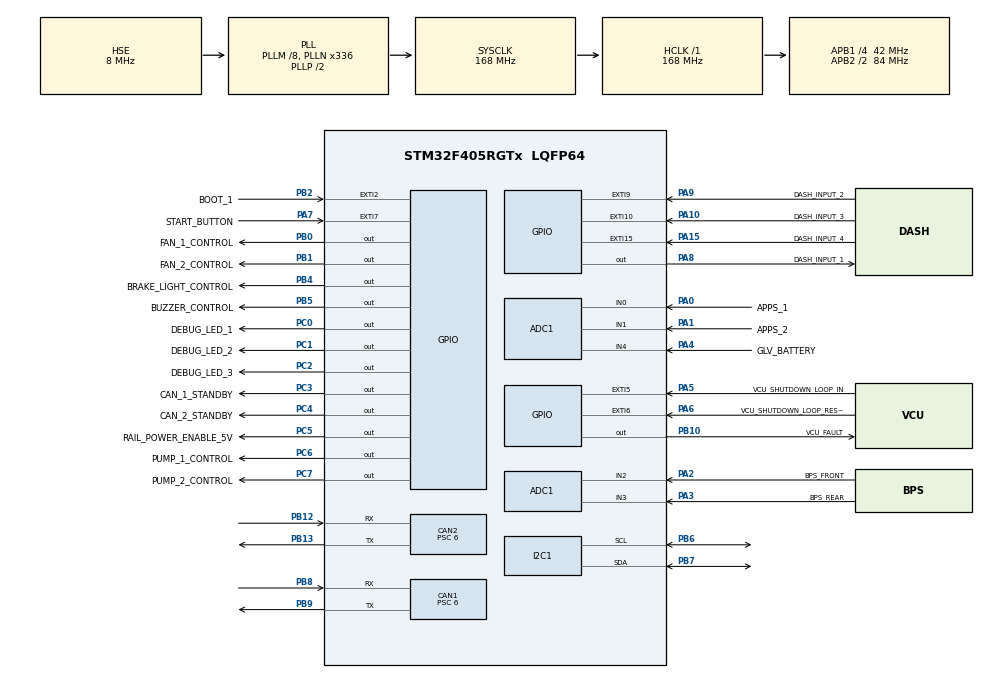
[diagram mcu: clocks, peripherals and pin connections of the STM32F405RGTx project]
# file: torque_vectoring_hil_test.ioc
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ADC1.Channel-0\#ChannelRegularConversion=ADC_CHANNEL_0
ADC1.NbrOfConversionFlag=1
ADC1.Rank-0\#ChannelRegularConversion=1
ADC1.SamplingTime-0\#ChannelRegularConversion=ADC_SAMPLETIME_3CYCLES
ADC1.master=1
CAN1.BS1=CAN_BS1_3TQ
CAN1.BS2=CAN_BS2_3TQ
CAN1.CalculateBaudRate=1000000
CAN1.CalculateTimeBit=1000
CAN1.CalculateTimeQuantum=142.85714285714286
CAN1.Prescaler=6
CAN1.TXFP=ENABLE
CAN2.BS1=CAN_BS1_3TQ
CAN2.BS2=CAN_BS2_3TQ
CAN2.CalculateBaudRate=1000000
CAN2.CalculateTimeBit=1000
CAN2.CalculateTimeQuantum=142.85714285714286
CAN2.Prescaler=6
Mcu.Family=STM32F4
Mcu.Name=STM32F405RGTx
Mcu.Package=LQFP64
NVIC.CAN1_RX0_IRQn=true\:0\:0\:false\:false\:true\:true\:true\:true
NVIC.CAN2_RX0_IRQn=true\:0\:0\:false\:false\:true\:true\:true\:true
NVIC.EXTI15_10_IRQn=true\:0\:0\:false\:false\:true\:true\:true\:true
NVIC.EXTI9_5_IRQn=true\:0\:0\:false\:false\:true\:true\:true\:true
NVIC.PriorityGroup=NVIC_PRIORITYGROUP_4
NVIC.TIM1_TRG_COM_TIM11_IRQn=true\:0\:0\:false\:false\:true\:true\:true\:true
NVIC.TIM1_UP_TIM10_IRQn=true\:15\:0\:false\:false\:true\:false\:true\:true
NVIC.TimeBase=TIM1_UP_TIM10_IRQn
NVIC.TimeBaseIP=TIM1
PA0-WKUP.GPIO_Label=APPS_1
PA0-WKUP.Signal=ADCx_IN0
PA1.GPIO_Label=APPS_2
PA1.Signal=ADCx_IN1
PA10.GPIO_Label=DASH_INPUT_3
PA10.GPIO_ModeDefaultEXTI=GPIO_MODE_IT_RISING_FALLING
PA10.GPIO_PuPd=GPIO_NOPULL
PA10.Signal=GPXTI10
PA13.Mode=Trace_Asynchronous_SW
PA13.Signal=SYS_JTMS-SWDIO
PA14.Mode=Trace_Asynchronous_SW
PA14.Signal=SYS_JTCK-SWCLK
PA15.GPIO_Label=DASH_INPUT_4
PA15.GPIO_ModeDefaultEXTI=GPIO_MODE_IT_RISING_FALLING
PA15.GPIO_PuPd=GPIO_NOPULL
PA15.Signal=GPXTI15
PA2.GPIO_Label=BPS_FRONT
PA2.Signal=ADCx_IN2
PA3.GPIO_Label=BPS_REAR
PA3.Signal=ADCx_IN3
PA4.GPIO_Label=GLV_BATTERY
PA4.Signal=ADCx_IN4
PA5.GPIO_Label=VCU_SHUTDOWN_LOOP_IN
PA5.GPIO_ModeDefaultEXTI=GPIO_MODE_IT_RISING_FALLING
PA5.GPIO_PuPd=GPIO_NOPULL
PA5.Signal=GPXTI5
PA6.GPIO_Label=VCU_SHUTDOWN_LOOP_RESET
PA6.GPIO_ModeDefaultEXTI=GPIO_MODE_IT_RISING_FALLING
PA6.GPIO_PuPd=GPIO_NOPULL
PA6.Signal=GPXTI6
PA7.GPIO_Label=START_BUTTON
PA7.GPIO_ModeDefaultEXTI=GPIO_MODE_IT_RISING_FALLING
PA7.GPIO_PuPd=GPIO_NOPULL
PA7.Signal=GPXTI7
PA8.GPIO_Label=DASH_INPUT_1
PA8.Signal=GPIO_Output
PA9.GPIO_Label=DASH_INPUT_2
PA9.GPIO_ModeDefaultEXTI=GPIO_MODE_IT_RISING_FALLING
PA9.Signal=GPXTI9
PB0.GPIO_Label=FAN_1_CONTROL
PB0.Signal=GPIO_Output
PB1.GPIO_Label=FAN_2_CONTROL
PB1.Signal=GPIO_Output
PB10.GPIO_Label=VCU_FAULT
PB10.Signal=GPIO_Output
PB12.Mode=CAN_Activate
PB12.Signal=CAN2_RX
PB13.Mode=CAN_Activate
PB13.Signal=CAN2_TX
PB2.GPIO_Label=BOOT_1
PB2.GPIO_ModeDefaultEXTI=GPIO_MODE_IT_RISING_FALLING
PB2.Signal=GPXTI2
PB3.Mode=Trace_Asynchronous_SW
PB3.Signal=SYS_JTDO-SWO
PB4.GPIO_Label=BRAKE_LIGHT_CONTROL
PB4.Signal=GPIO_Output
PB5.GPIO_Label=BUZZER_CONTROL
PB5.Signal=GPIO_Output
PB6.Mode=I2C
PB6.Signal=I2C1_SCL
PB7.Mode=I2C
PB7.Signal=I2C1_SDA
PB8.Mode=CAN_Activate
PB8.Signal=CAN1_RX
PB9.Mode=CAN_Activate
PB9.Signal=CAN1_TX
PC0.GPIO_Label=DEBUG_LED_1
PC0.Signal=GPIO_Output
PC1.GPIO_Label=DEBUG_LED_2
PC1.Signal=GPIO_Output
PC2.GPIO_Label=DEBUG_LED_3
PC2.Signal=GPIO_Output
PC3.GPIO_Label=CAN_1_STANDBY
PC3.Signal=GPIO_Output
PC4.GPIO_Label=CAN_2_STANDBY
PC4.Signal=GPIO_Output
PC5.GPIO_Label=RAIL_POWER_ENABLE_5V
PC5.Signal=GPIO_Output
PC6.GPIO_Label=PUMP_1_CONTROL
PC6.Signal=GPIO_Output
PC7.GPIO_Label=PUMP_2_CONTROL
PC7.Signal=GPIO_Output
PH0-OSC_IN.Mode=HSE-External-Oscillator
PH0-OSC_IN.Signal=RCC_OSC_IN
PH1-OSC_OUT.Mode=HSE-External-Oscillator
PH1-OSC_OUT.Signal=RCC_OSC_OUT
ProjectManager.HeapSize=0x800
ProjectManager.StackSize=0x400
ProjectManager.TargetToolchain=STM32CubeIDE
RCC.48MHZClocksFreq_Value=48000000
RCC.AHBFreq_Value=168000000
RCC.APB1CLKDivider=RCC_HCLK_DIV4
RCC.APB1Freq_Value=42000000
RCC.APB1TimFreq_Value=84000000
RCC.APB2CLKDivider=RCC_HCLK_DIV2
RCC.APB2Freq_Value=84000000
RCC.APB2TimFreq_Value=168000000
RCC.CortexFreq_Value=168000000
RCC.HCLKFreq_Value=168000000
RCC.HSE_VALUE=8000000
RCC.HSI_VALUE=16000000
RCC.LSE_VALUE=32768
RCC.PLLM=8
RCC.PLLN=336
RCC.PLLQ=7
RCC.PLLSourceVirtual=RCC_PLLSOURCE_HSE
RCC.SYSCLKFreq_VALUE=168000000
RCC.SYSCLKSource=RCC_SYSCLKSOURCE_PLLCLK
RCC.VCOOutputFreq_Value=336000000
SH.ADCx_IN0.0=ADC1_IN0,IN0
SH.ADCx_IN1.0=ADC1_IN1,IN1
SH.ADCx_IN2.0=ADC1_IN2,IN2
SH.ADCx_IN3.0=ADC1_IN3,IN3
SH.ADCx_IN4.0=ADC1_IN4,IN4
TIM11.Period=4199
VP_SYS_VS_tim1.Mode=TIM1
VP_TIM11_VS_ClockSourceINT.Mode=Enable_Timer
board=custom

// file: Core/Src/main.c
/* USER CODE BEGIN Header */
/*
 * Torque Vectoring HIL Test firmware
 *
 * This project recieves CAN messages from the Simulink HIL simulation, and
 * runs the torque vectoring algorithm to validate its embedded implementation.
 * The STM32 expects a message with driver and vehicle state data, then computes
 * the Mz_tv and torque outputs, sending them back over CAN, where Simulink
 * updates the plant model simulation.
 */
/* USER CODE END Header */
#include "main.h"

/* USER CODE BEGIN Includes */
#include "pid.h"

/* USER CODE END Includes */

/* USER CODE BEGIN PD */
#define CAN_DATA_SCALING_FACTOR 1000

/* USER CODE END PD */

ADC_HandleTypeDef hadc1;

CAN_HandleTypeDef hcan1;
CAN_HandleTypeDef hcan2;

I2C_HandleTypeDef hi2c1;

TIM_HandleTypeDef htim11;

/* USER CODE BEGIN PV */

// CAN Data and message identifiers
CAN_RxHeaderTypeDef rxHeader;
uint8_t rxData[8];  // CAN max payload is 8 bytes
uint8_t received_message_yaw = 0;
uint8_t received_message_vehicle_state = 0;

// Vehicle Data
float ref_velocity = 0.0f;
float sw_angle = 0.0f;

// Yaw Controller Data
float input_data = 0.0f;
float output_data = 0.0f;
float time_step = 0.0f;

// PID Data
pid_t pid_data;
float sampling_period = 0.01f;
float tau = 0.0f;
gain_t sample_gains = {7000.0, 2000.0, 0.0};  // Sample gains for the HIL test model

/* USER CODE END PV */

void SystemClock_Config(void);
static void MX_GPIO_Init(void);
static void MX_CAN1_Init(void);
static void MX_CAN2_Init(void);
static void MX_I2C1_Init(void);
static void MX_ADC1_Init(void);
static void MX_TIM11_Init(void);
/* USER CODE BEGIN PFP */

void init_can_filter(CAN_FilterTypeDef canfilter);
void process_can_message(void);
void send_can_message(int16_t actuating_signal);

/* USER CODE END PFP */

int main(void)
{

  /* MCU Configuration--------------------------------------------------------*/

  /* Reset of all peripherals, Initializes the Flash interface and the Systick. */
  HAL_Init();

  /* Configure the system clock */
  SystemClock_Config();

  /* Initialize all configured peripherals */
  MX_GPIO_Init();
  MX_CAN1_Init();
  MX_CAN2_Init();
  MX_I2C1_Init();
  MX_ADC1_Init();
  MX_TIM11_Init();
  /* USER CODE BEGIN 2 */
  uint32_t last_toggle = HAL_GetTick();

  // Enable the 5V Power rail
  HAL_GPIO_WritePin(GPIOC, RAIL_POWER_ENABLE_5V_Pin, GPIO_PIN_SET);

  // Pull The standby pin low to put the CAN tranceivers in normal mode
  HAL_GPIO_WritePin(GPIOC, CAN_1_STANDBY_Pin, GPIO_PIN_RESET);

  HAL_CAN_Start(&hcan1);

  // Set CAN Bus filter to find ID = 0x120 to 0x125 messages
  CAN_FilterTypeDef canfilter;
  (void)init_can_filter(canfilter);

  if (HAL_CAN_ConfigFilter(&hcan1, &canfilter) != HAL_OK) {
      Error_Handler();  // Or debug print
  }

  // Initialize PID controller and set gains
  (void)init_pid(&pid_data, sampling_period, tau);
  (void)update_gains(&pid_data, sample_gains);

  /* USER CODE END 2 */

  /* Infinite loop */
  while (1)
  {

	// Heatnbeat to ensure it is running
	if (HAL_GetTick() - last_toggle >= 500) {
		HAL_GPIO_TogglePin(GPIOC, DEBUG_LED_1_Pin);
	    last_toggle = HAL_GetTick();
	}

	// 1. Wait to recieve a CAN message. This is non-blocking so we only want to compute the PID if we receive a message
    (void)process_can_message();

    // Schedule Gains
    if(received_message_vehicle_state) {
      // Interpolate the lookup table to find the closes gain values
      gain_t new_gains = schedule_gains(ref_velocity, sw_angle);
      update_gains(&pid_data, new_gains);
      received_message_vehicle_state = 0;
    }

    // Compute PID controller
    if(received_message_yaw) {
    	// Note: this only works because this is not computed real-time. Simulation data between messages is sent every simulation 0.01s time step, which is what the sample_time is set to.

      // Calculate error signal
    	float error = input_data - output_data;
    	update_pid(&pid_data, error);

    	// Send a CAN message out
    	float actuating_signal = pid_data.u;
    	(void)send_can_message((int16_t)(actuating_signal));

    	received_message_yaw = 0;
    }

  }
}

void SystemClock_Config(void)
{
  RCC_OscInitTypeDef RCC_OscInitStruct = {0};
  RCC_ClkInitTypeDef RCC_ClkInitStruct = {0};

  /** Configure the main internal regulator output voltage
  */
  __HAL_RCC_PWR_CLK_ENABLE();
  __HAL_PWR_VOLTAGESCALING_CONFIG(PWR_REGULATOR_VOLTAGE_SCALE1);

  /** Initializes the RCC Oscillators according to the specified parameters
  * in the RCC_OscInitTypeDef structure.
  */
  RCC_OscInitStruct.OscillatorType = RCC_OSCILLATORTYPE_HSE;
  RCC_OscInitStruct.HSEState = RCC_HSE_ON;
  RCC_OscInitStruct.PLL.PLLState = RCC_PLL_ON;
  RCC_OscInitStruct.PLL.PLLSource = RCC_PLLSOURCE_HSE;
  RCC_OscInitStruct.PLL.PLLM = 8;
  RCC_OscInitStruct.PLL.PLLN = 336;
  RCC_OscInitStruct.PLL.PLLP = RCC_PLLP_DIV2;
  RCC_OscInitStruct.PLL.PLLQ = 7;
  if (HAL_RCC_OscConfig(&RCC_OscInitStruct) != HAL_OK)
  {
    Error_Handler();
  }

  /** Initializes the CPU, AHB and APB buses clocks
  */
  RCC_ClkInitStruct.ClockType = RCC_CLOCKTYPE_HCLK|RCC_CLOCKTYPE_SYSCLK
                              |RCC_CLOCKTYPE_PCLK1|RCC_CLOCKTYPE_PCLK2;
  RCC_ClkInitStruct.SYSCLKSource = RCC_SYSCLKSOURCE_PLLCLK;
  RCC_ClkInitStruct.AHBCLKDivider = RCC_SYSCLK_DIV1;
  RCC_ClkInitStruct.APB1CLKDivider = RCC_HCLK_DIV4;
  RCC_ClkInitStruct.APB2CLKDivider = RCC_HCLK_DIV2;

  if (HAL_RCC_ClockConfig(&RCC_ClkInitStruct, FLASH_LATENCY_5) != HAL_OK)
  {
    Error_Handler();
  }
}

static void MX_ADC1_Init(void)
{

  ADC_ChannelConfTypeDef sConfig = {0};

  /** Configure the global features of the ADC (Clock, Resolution, Data Alignment and number of conversion)
  */
  hadc1.Instance = ADC1;
  hadc1.Init.ClockPrescaler = ADC_CLOCK_SYNC_PCLK_DIV4;
  hadc1.Init.Resolution = ADC_RESOLUTION_12B;
  hadc1.Init.ScanConvMode = DISABLE;
  hadc1.Init.ContinuousConvMode = DISABLE;
  hadc1.Init.DiscontinuousConvMode = DISABLE;
  hadc1.Init.ExternalTrigConvEdge = ADC_EXTERNALTRIGCONVEDGE_NONE;
  hadc1.Init.ExternalTrigConv = ADC_SOFTWARE_START;
  hadc1.Init.DataAlign = ADC_DATAALIGN_RIGHT;
  hadc1.Init.NbrOfConversion = 1;
  hadc1.Init.DMAContinuousRequests = DISABLE;
  hadc1.Init.EOCSelection = ADC_EOC_SINGLE_CONV;
  if (HAL_ADC_Init(&hadc1) != HAL_OK)
  {
    Error_Handler();
  }

  /** Configure for the selected ADC regular channel its corresponding rank in the sequencer and its sample time.
  */
  sConfig.Channel = ADC_CHANNEL_0;
  sConfig.Rank = 1;
  sConfig.SamplingTime = ADC_SAMPLETIME_3CYCLES;
  if (HAL_ADC_ConfigChannel(&hadc1, &sConfig) != HAL_OK)
  {
    Error_Handler();
  }

}

static void MX_CAN1_Init(void)
{

  hcan1.Instance = CAN1;
  hcan1.Init.Prescaler = 6;
  hcan1.Init.Mode = CAN_MODE_NORMAL;
  hcan1.Init.SyncJumpWidth = CAN_SJW_1TQ;
  hcan1.Init.TimeSeg1 = CAN_BS1_3TQ;
  hcan1.Init.TimeSeg2 = CAN_BS2_3TQ;
  hcan1.Init.TimeTriggeredMode = DISABLE;
  hcan1.Init.AutoBusOff = DISABLE;
  hcan1.Init.AutoWakeUp = DISABLE;
  hcan1.Init.AutoRetransmission = DISABLE;
  hcan1.Init.ReceiveFifoLocked = DISABLE;
  hcan1.Init.TransmitFifoPriority = ENABLE;
  if (HAL_CAN_Init(&hcan1) != HAL_OK)
  {
    Error_Handler();
  }

}

static void MX_CAN2_Init(void)
{

  hcan2.Instance = CAN2;
  hcan2.Init.Prescaler = 6;
  hcan2.Init.Mode = CAN_MODE_NORMAL;
  hcan2.Init.SyncJumpWidth = CAN_SJW_1TQ;
  hcan2.Init.TimeSeg1 = CAN_BS1_3TQ;
  hcan2.Init.TimeSeg2 = CAN_BS2_3TQ;
  hcan2.Init.TimeTriggeredMode = DISABLE;
  hcan2.Init.AutoBusOff = DISABLE;
  hcan2.Init.AutoWakeUp = DISABLE;
  hcan2.Init.AutoRetransmission = DISABLE;
  hcan2.Init.ReceiveFifoLocked = DISABLE;
  hcan2.Init.TransmitFifoPriority = DISABLE;
  if (HAL_CAN_Init(&hcan2) != HAL_OK)
  {
    Error_Handler();
  }

}

static void MX_I2C1_Init(void)
{

  hi2c1.Instance = I2C1;
  hi2c1.Init.ClockSpeed = 100000;
  hi2c1.Init.DutyCycle = I2C_DUTYCYCLE_2;
  hi2c1.Init.OwnAddress1 = 0;
  hi2c1.Init.AddressingMode = I2C_ADDRESSINGMODE_7BIT;
  hi2c1.Init.DualAddressMode = I2C_DUALADDRESS_DISABLE;
  hi2c1.Init.OwnAddress2 = 0;
  hi2c1.Init.GeneralCallMode = I2C_GENERALCALL_DISABLE;
  hi2c1.Init.NoStretchMode = I2C_NOSTRETCH_DISABLE;
  if (HAL_I2C_Init(&hi2c1) != HAL_OK)
  {
    Error_Handler();
  }

}

static void MX_TIM11_Init(void)
{

  htim11.Instance = TIM11;
  htim11.Init.Prescaler = 0;
  htim11.Init.CounterMode = TIM_COUNTERMODE_UP;
  htim11.Init.Period = 4199;
  htim11.Init.ClockDivision = TIM_CLOCKDIVISION_DIV1;
  htim11.Init.AutoReloadPreload = TIM_AUTORELOAD_PRELOAD_DISABLE;
  if (HAL_TIM_Base_Init(&htim11) != HAL_OK)
  {
    Error_Handler();
  }

}

static void MX_GPIO_Init(void)
{
  GPIO_InitTypeDef GPIO_InitStruct = {0};

  /* GPIO Ports Clock Enable */
  __HAL_RCC_GPIOH_CLK_ENABLE();
  __HAL_RCC_GPIOC_CLK_ENABLE();
  __HAL_RCC_GPIOA_CLK_ENABLE();
  __HAL_RCC_GPIOB_CLK_ENABLE();

  /*Configure GPIO pin Output Level */
  HAL_GPIO_WritePin(GPIOC, DEBUG_LED_1_Pin|DEBUG_LED_2_Pin|DEBUG_LED_3_Pin|CAN_1_STANDBY_Pin
                          |CAN_2_STANDBY_Pin|RAIL_POWER_ENABLE_5V_Pin|PUMP_1_CONTROL_Pin|PUMP_2_CONTROL_Pin, GPIO_PIN_RESET);

  /*Configure GPIO pin Output Level */
  HAL_GPIO_WritePin(GPIOB, FAN_1_CONTROL_Pin|FAN_2_CONTROL_Pin|VCU_FAULT_Pin|BRAKE_LIGHT_CONTROL_Pin
                          |BUZZER_CONTROL_Pin, GPIO_PIN_RESET);

  /*Configure GPIO pin Output Level */
  HAL_GPIO_WritePin(DASH_INPUT_1_GPIO_Port, DASH_INPUT_1_Pin, GPIO_PIN_RESET);

  /*Configure GPIO pins : DEBUG_LED_1_Pin DEBUG_LED_2_Pin DEBUG_LED_3_Pin CAN_1_STANDBY_Pin
                           CAN_2_STANDBY_Pin RAIL_POWER_ENABLE_5V_Pin PUMP_1_CONTROL_Pin PUMP_2_CONTROL_Pin */
  GPIO_InitStruct.Pin = DEBUG_LED_1_Pin|DEBUG_LED_2_Pin|DEBUG_LED_3_Pin|CAN_1_STANDBY_Pin
                          |CAN_2_STANDBY_Pin|RAIL_POWER_ENABLE_5V_Pin|PUMP_1_CONTROL_Pin|PUMP_2_CONTROL_Pin;
  GPIO_InitStruct.Mode = GPIO_MODE_OUTPUT_PP;
  GPIO_InitStruct.Pull = GPIO_NOPULL;
  GPIO_InitStruct.Speed = GPIO_SPEED_FREQ_LOW;
  HAL_GPIO_Init(GPIOC, &GPIO_InitStruct);

  /*Configure GPIO pins : VCU_SHUTDOWN_LOOP_IN_Pin VCU_SHUTDOWN_LOOP_RESET_Pin START_BUTTON_Pin DASH_INPUT_2_Pin
                           DASH_INPUT_3_Pin DASH_INPUT_4_Pin */
  GPIO_InitStruct.Pin = VCU_SHUTDOWN_LOOP_IN_Pin|VCU_SHUTDOWN_LOOP_RESET_Pin|START_BUTTON_Pin|DASH_INPUT_2_Pin
                          |DASH_INPUT_3_Pin|DASH_INPUT_4_Pin;
  GPIO_InitStruct.Mode = GPIO_MODE_IT_RISING_FALLING;
  GPIO_InitStruct.Pull = GPIO_NOPULL;
  HAL_GPIO_Init(GPIOA, &GPIO_InitStruct);

  /*Configure GPIO pins : FAN_1_CONTROL_Pin FAN_2_CONTROL_Pin VCU_FAULT_Pin BRAKE_LIGHT_CONTROL_Pin
                           BUZZER_CONTROL_Pin */
  GPIO_InitStruct.Pin = FAN_1_CONTROL_Pin|FAN_2_CONTROL_Pin|VCU_FAULT_Pin|BRAKE_LIGHT_CONTROL_Pin
                          |BUZZER_CONTROL_Pin;
  GPIO_InitStruct.Mode = GPIO_MODE_OUTPUT_PP;
  GPIO_InitStruct.Pull = GPIO_NOPULL;
  GPIO_InitStruct.Speed = GPIO_SPEED_FREQ_LOW;
  HAL_GPIO_Init(GPIOB, &GPIO_InitStruct);

  /*Configure GPIO pin : BOOT_1_Pin */
  GPIO_InitStruct.Pin = BOOT_1_Pin;
  GPIO_InitStruct.Mode = GPIO_MODE_IT_RISING_FALLING;
  GPIO_InitStruct.Pull = GPIO_NOPULL;
  HAL_GPIO_Init(BOOT_1_GPIO_Port, &GPIO_InitStruct);

  /*Configure GPIO pin : DASH_INPUT_1_Pin */
  GPIO_InitStruct.Pin = DASH_INPUT_1_Pin;
  GPIO_InitStruct.Mode = GPIO_MODE_OUTPUT_PP;
  GPIO_InitStruct.Pull = GPIO_NOPULL;
  GPIO_InitStruct.Speed = GPIO_SPEED_FREQ_LOW;
  HAL_GPIO_Init(DASH_INPUT_1_GPIO_Port, &GPIO_InitStruct);

  /* EXTI interrupt init*/
  HAL_NVIC_SetPriority(EXTI9_5_IRQn, 0, 0);
  HAL_NVIC_EnableIRQ(EXTI9_5_IRQn);

  HAL_NVIC_SetPriority(EXTI15_10_IRQn, 0, 0);
  HAL_NVIC_EnableIRQ(EXTI15_10_IRQn);

}

/* USER CODE BEGIN 4 */

void init_can_filter(CAN_FilterTypeDef canfilter) {
  canfilter.FilterActivation = ENABLE;
  canfilter.FilterBank = 0;                         // Use filter bank 0
  canfilter.FilterFIFOAssignment = CAN_RX_FIFO0;
  canfilter.FilterMode = CAN_FILTERMODE_IDMASK;
  canfilter.FilterScale = CAN_FILTERSCALE_32BIT;

  // Accept IDs from 0x120 to 0x125
  // Mask: match bits that define 0x120 to 0x125
  // ID bits 10:3 must match 0x24 (0b100100) -> bits 10:3 of 0x120 to 0x125 are the same
  // Bits 2:0 can vary, so mask those out

  canfilter.FilterIdHigh     = 0x120 << 5;          // Shifted left 5 to align with CAN ID format
  canfilter.FilterIdLow      = 0x0000;

  canfilter.FilterMaskIdHigh = 0x1F8 << 5;          // Mask bits 10:3 (0x1F8 = 0b1111111000)
  canfilter.FilterMaskIdLow  = 0x0000;

  canfilter.SlaveStartFilterBank = 14;              // Only needed if using CAN2
}

void process_can_message() {
  CAN_RxHeaderTypeDef rxHeader;
  uint8_t rxData[8];

  if (HAL_CAN_GetRxFifoFillLevel(&hcan1, CAN_RX_FIFO0) > 0) {
      if (HAL_CAN_GetRxMessage(&hcan1, CAN_RX_FIFO0, &rxHeader, rxData) == HAL_OK) {

    	  // Yaw Controller Data Message
          if (rxHeader.StdId == 0x123 && rxHeader.DLC >= 6) {

        	  // Toggle pin if the right message was recieved
        	  HAL_GPIO_TogglePin(GPIOC, DEBUG_LED_2_Pin);

        	  // Tell everyone we recieved the message
        	  received_message_yaw = 1;

            // MSB first
        	  input_data  = (int16_t)((rxData[0] << 8) | rxData[1]) / CAN_DATA_SCALING_FACTOR;
        	  output_data = (int16_t)((rxData[2] << 8) | rxData[3]) / CAN_DATA_SCALING_FACTOR;
        	  time_step   = (int16_t)((rxData[4] << 8) | rxData[5]) / CAN_DATA_SCALING_FACTOR;
          }

        // Vehicle State Message
        if (rxHeader.StdId == 0x122 && rxHeader.DLC >= 6) {

          // Toggle pin if the right message was recieved
          HAL_GPIO_TogglePin(GPIOC, DEBUG_LED_2_Pin);

          // Tell everyone we recieved the message
          received_message_vehicle_state = 1;

           // MSB first
          ref_velocity  = (float)((rxData[0] << 8) | rxData[1]) / CAN_DATA_SCALING_FACTOR;
          sw_angle = (float)((rxData[2] << 8) | rxData[3]) / CAN_DATA_SCALING_FACTOR;
        }
      }
  }
}

void send_can_message(int16_t actuating_signal) {
    CAN_TxHeaderTypeDef txHeader;
    uint8_t txData[2];
    uint32_t txMailbox;

    // Prepare CAN header
    txHeader.StdId = 0x124;
    txHeader.ExtId = 0;
    txHeader.RTR = CAN_RTR_DATA;
    txHeader.IDE = CAN_ID_STD;
    txHeader.DLC = 2;
    txHeader.TransmitGlobalTime = DISABLE;

    // Pack the 16-bit value into 2 bytes (little-endian)
    txData[0] = actuating_signal & 0xFF;
    txData[1] = (actuating_signal >> 8) & 0xFF;

    // Transmit the message
    if (HAL_CAN_AddTxMessage(&hcan1, &txHeader, txData, &txMailbox) != HAL_OK) {
        // Optionally handle error
    }
}

/* USER CODE END 4 */

void HAL_TIM_PeriodElapsedCallback(TIM_HandleTypeDef *htim)
{
  if (htim->Instance == TIM1) {
    HAL_IncTick();
  }
}

void Error_Handler(void)
{
  __disable_irq();
  while (1)
  {
  }
}
